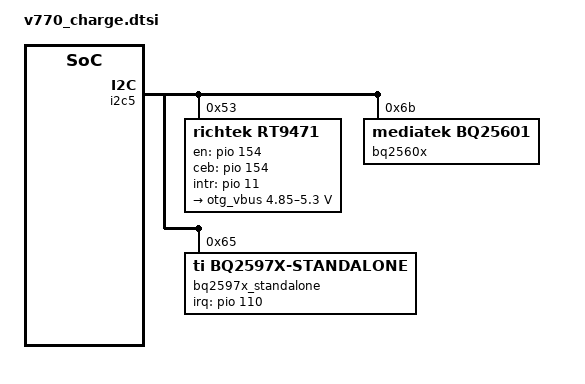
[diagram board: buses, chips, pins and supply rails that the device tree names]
// SPDX-License-Identifier: GPL-2.0+
/*
 * Copyright (c) 2019 MediaTek Inc.
 *
 */

#include "bat_setting/v770_battery_prop.dtsi"

&i2c5 {
	rt9471@53 {
		compatible = "richtek,rt9471";
		charger_name = "primary_chg";
		reg = <0x53>;
		status = "okay";
		charger = <&mtk_charger_type>;	

 		rt,en_gpio_num = <154>;
 		rt,en_gpio = <&pio 154 0x0>;
 		rt,ceb_gpio = <&pio 154 0x0>;
 		rt,ceb_gpio_num = <154>;
 		rt,intr_gpio_num = <11>; /* direct defined GPIO num */
 		rt,intr_gpio = <&pio 11 0x0>;
 //		interrupt-names = "wdtmri";
 		ichg = <2000000>; /* uA */
 		cv = <4420000>; /* uV */
 		ieoc = <100000>; /* uA */
 		safety_timer = <12>; /* hour */
 		en_st; /* safety timer */
 		/* en_te; */
 		en_wdt;

		rm-slave-addr = /bits/ 8 <0x53>;
		rm-name = "rt9471";
		interrupt-names = "wdt", "chg_mivr", "vbus_gd",
				  "bc12_done", "detach", "vac_ov",
				  "otg_fault", "chg_rdy", "chg_done",
				  "aicc_done", "pe_done", "chg_tout",
				  "rechg", "chg_batov";
		vac_ovp = <6500000>;		/* uV */
		mivr = <4500000>;		/* uV */
		aicr = <500000>;		/* uA */
		safe_tmr = <10>;		/* hour */
		wdt = <40>;			/* sec */
		/*
		 * 0: MIVR register
		 * 1: MIVR = VBAT + 200mV
		 * 2: MIVR = VBAT + 250mV
		 * >= 3: MIVR = VBAT + 300mV
		 */
		mivr_track = <0>;
		en_safe_tmr;
		en_te;
		/* en_jeita; */
		/* ceb_invert; */
		/* dis_i2c_tout; */
		en_qon_rst;
		/* auto_aicr; */
		bc12_sel = <0>;
		otg_vbus: usb-otg-vbus {
						regulator-compatible = "usb-otg-vbus";
						regulator-name = "usb-otg-vbus";
						regulator-min-microvolt = <4850000>;
						regulator-max-microvolt = <5300000>;
						regulator-min-microamp = <500000>;
						regulator-max-microamp = <1200000>;
					};
 		
	};
};

&i2c5 {
	bq2560x@6B {
		compatible = "mediatek,bq25601";
		charger_name = "primary_chg";
		reg = <0x6B>;
		status = "okay";
		charger = <&mtk_charger_type>;		/*for charge status by pony 20210609*/
	};
};

&i2c5 {
	bq2597x_standalone@65 {
		compatible = "ti,bq2597x-standalone";
		reg = <0x65>;
		//interrupt-parent = <&tlmm>;
		//interrupts = <111 0>;
		ti,irq-gpio = <&pio 110 0>;
		ti,bq2597x,bat-therm-disable;
		ti,bq2597x,bus-therm-disable;
		ti,bq2597x,die-therm-disable;

		ti,bq2597x,bat-ovp-threshold = <4425>;
		ti,bq2597x,bat-ovp-alarm-threshold = <4400>;
		ti,bq2597x,bat-ocp-threshold = <8000>;
		ti,bq2597x,bat-ocp-alarm-threshold = <7500>;
		//for dual cp :
		ti,bq2597x,bat-ocp-disable;

		ti,bq2597x,bus-ovp-threshold = <6500>;
		ti,bq2597x,bus-ovp-alarm-threshold = <6400>;
		ti,bq2597x,bus-ocp-threshold = <2100>;
		ti,bq2597x,bus-ocp-alarm-threshold = <2000>;

		ti,bq2597x,bat-ucp-alarm-threshold = <2000>;

		ti,bq2597x,bat-therm-threshold = <0x15>;/*4.1%*/
		ti,bq2597x,bus-therm-threshold = <0x15>;/*4.1%*/
		ti,bq2597x,die-therm-threshold = <125>;

		ti,bq2597x,ac-ovp-threshold = <12>;
		ti,bq2597x,sense-resistor-mohm = <2>;
	};
};

&i2c5 {
	rt9759_slave@66 {
		compatible = "richtek,rt9759";
		status = "disabled";
		reg = <0x66>;
		rm_name = "rt9759";
		rm_slave_addr = /bits/ 8 <0x66>;
		rt9759,intr-gpios = <&pio 110 0x0>;
		standalone {
			chg_name = "primary_divider_chg";
			vbatovp = <4500000>;
			vbatovp_alm = <4400000>;
			ibatocp = <6100000>;
			ibatocp_alm = <6000000>;
			ibatucp_alm = <1000000>;
			vbusovp = <6500000>;
			vbusovp_alm = <6400000>;
			ibusocp = <4250000>;
			ibusocp_alm = <4000000>;
			vacovp = <6600000>;
			wdt = <30000000>;
			ibat_rsense = <1>; /* 0: 2mohm, 1: 5mohm */
			ibusucpf_deglitch = <0>; /* 0: 10us, 1: 5ms */
			/* vbatovp_dis; */
			/* vbatovp_alm_dis; */
			/* ibatocp_dis; */
			ibatocp_alm_dis;
			ibatucp_alm_dis;
			/* vbusovp_alm_dis; */
			/* ibusocp_dis; */
			ibusocp_alm_dis;
			/* wdt_dis; */
			/* tsbusotp_dis; */
			/* tsbatotp_dis; */
			/* tdieotp_dis; */
			/* reg_en; */
			/* voutovp_dis; */
			/* ibusadc_dis; */
			/* vbusadc_dis; */
			/* vacadc_dis; */
			/* voutadc_dis; */
			/* vbatadc_dis; */
			/* ibatadc_dis; */
			/* tsbusadc_dis; */
			/* tsbatadc_dis; */
			/* tdieadc_dis; */
		};
		slave {
			chg_name = "secondary_divider_chg";
			vbatovp = <4500000>;
			vbatovp_alm = <4400000>;
			ibatocp = <6100000>;
			ibatocp_alm = <6000000>;
			ibatucp_alm = <1000000>;
			vbusovp = <6500000>;
			vbusovp_alm = <6400000>;
			ibusocp = <4250000>;
			ibusocp_alm = <4000000>;
			vacovp = <6600000>;
			wdt = <1000000>;
			ibat_rsense = <1>; /* 0: 2mohm, 1: 5mohm */
			ibusucpf_deglitch = <0>; /* 0: 10us, 1: 5ms */
			vbatovp_dis;
			vbatovp_alm_dis;
			ibatocp_dis;
			ibatocp_alm_dis;
			ibatucp_alm_dis;
			vbusovp_alm_dis;
			/* ibusocp_dis; */
			ibusocp_alm_dis;
			wdt_dis;
			/* tsbusotp_dis; */
			/* tsbatotp_dis; */
			/* tdieotp_dis; */
			/* reg_en; */
			/* voutovp_dis; */
			/* ibusadc_dis; */
			/* vbusadc_dis; */
			/* vacadc_dis; */
			/* voutadc_dis; */
			vbatadc_dis;
			ibatadc_dis;
			/* tsbusadc_dis; */
			/* tsbatadc_dis; */
			/* tdieadc_dis; */
		};
	};
	rt9759_master@65 {
		compatible = "richtek,rt9759";
		status = "disabled";
		reg = <0x65>;
		rm_name = "rt9759";
		rm_slave_addr = /bits/ 8 <0x65>;
		rt9759,intr-gpios = <&pio 110 0x0>;
		standalone {
			chg_name = "primary_divider_chg";
			vbatovp = <4500000>;
			vbatovp_alm = <4400000>;
			ibatocp = <6100000>;
			ibatocp_alm = <6000000>;
			ibatucp_alm = <1000000>;
			vbusovp = <6500000>;
			vbusovp_alm = <6400000>;
			ibusocp = <4250000>;
			ibusocp_alm = <4000000>;
			vacovp = <6600000>;
			wdt = <30000000>;
			ibat_rsense = <1>; /* 0: 2mohm, 1: 5mohm */
			ibusucpf_deglitch = <0>; /* 0: 10us, 1: 5ms */
			/* vbatovp_dis; */
			/* vbatovp_alm_dis; */
			/* ibatocp_dis; */
			ibatocp_alm_dis;
			ibatucp_alm_dis;
			/* vbusovp_alm_dis; */
			/* ibusocp_dis; */
			ibusocp_alm_dis;
			/* wdt_dis; */
			/* tsbusotp_dis; */
			tsbatotp_dis;
			/* tdieotp_dis; */
			/* reg_en; */
			/* voutovp_dis; */
			/* ibusadc_dis; */
			/* vbusadc_dis; */
			/* vacadc_dis; */
			/* voutadc_dis; */
			/* vbatadc_dis; */
			/* ibatadc_dis; */
			/* tsbusadc_dis; */
			/* tsbatadc_dis; */
			/* tdieadc_dis; */
		};
		master {
			chg_name = "primary_divider_chg";
			vbatovp = <4500000>;
			vbatovp_alm = <4400000>;
			ibatocp = <6100000>;
			ibatocp_alm = <6000000>;
			ibatucp_alm = <1000000>;
			vbusovp = <6500000>;
			vbusovp_alm = <6400000>;
			ibusocp = <4250000>;
			ibusocp_alm = <4000000>;
			vacovp = <6600000>;
			wdt = <30000000>;
			ibat_rsense = <1>; /* 0: 2mohm, 1: 5mohm */
			ibusucpf_deglitch = <0>; /* 0: 10us, 1: 5ms */
			/* vbatovp_dis; */
			/* vbatovp_alm_dis; */
			/* ibatocp_dis; */
			ibatocp_alm_dis;
			/* ibatucp_alm_dis; */
			/* vbusovp_alm_dis; */
			/* ibusocp_dis; */
			ibusocp_alm_dis;
			/* wdt_dis; */
			tsbusotp_dis;
			tsbatotp_dis;
			/* tdieotp_dis; */
			/* reg_en; */
			/* voutovp_dis; */
			/* ibusadc_dis; */
			/* vbusadc_dis; */
			/* vacadc_dis; */
			/* voutadc_dis; */
			/* vbatadc_dis; */
			/* ibatadc_dis; */
			tsbusadc_dis;
			tsbatadc_dis;
			/* tdieadc_dis; */
		};
	};
};


&lk_charger {
	fast_charge_voltage = <3200000>;
	/* charging current */
	usb_charger_current = <500000>;
	ac_charger_current = <900000>;
	ac_charger_input_current = <2000000>;
	non_std_ac_charger_current = <500000>;
	charging_host_charger_current = <900000>;
	ta_ac_charger_current = <3000000>;
	pd_charger_current = <500000>;

/* battery temperature protection */
	temp_t4_threshold = <55>;
	temp_t3_threshold = <45>;
	temp_t1_threshold = <5>;	
};

&charger {
	battery_cv = <4420000>;				
	jeita_temp_above_t4_cv = <4100000>;
	jeita_temp_t3_to_t4_cv = <4100000>;
	jeita_temp_t2_to_t3_cv = <4420000>;
	jeita_temp_t1_to_t2_cv = <4420000>;
	jeita_temp_t0_to_t1_cv = <4420000>;
	jeita_temp_below_t0_cv = <4100000>;
	enable_sw_jeita;
	temp_t4_thres = <55>;
	temp_t4_thres_minus_x_degree = <52>;
	temp_t3_thres = <45>;
	temp_t3_thres_minus_x_degree = <43>;
	temp_t2_thres = <10>;
	temp_t2_thres_plus_x_degree = <12>;
	temp_t1_thres = <5>;
	temp_t1_thres_plus_x_degree = <7>;
	temp_t0_thres = <0>;
	temp_t0_thres_plus_x_degree = <0>;
	temp_neg_10_thres = <0>;

	/* battery temperature protection */
	enable_min_charge_temp;
	min_charge_temp = <3>;
	min_charge_temp_plus_x_degree = <5>;
	max_charge_temp = <55>;
	max_charge_temp_minus_x_degree = <52>;

	/* jeita charging current by pony date20210323 */
	jeita_temp_t3_to_t4_cc = <1500000>;		//temp 45~60 current
	jeita_temp_t2_to_t3_cc = <2000000>;		//temp 10~45 current
	jeita_temp_t1_to_t2_cc = <1400000>;		//temp 0~10 current

	/* charging current */
	usb_charger_current = <500000>;
	ac_charger_current = <2000000>;
	ac_charger_input_current = <2000000>;
	charging_host_charger_current = <1000000>;
};
